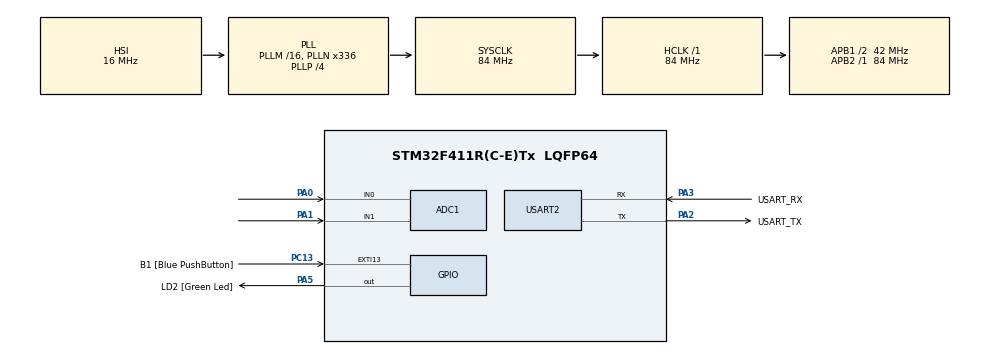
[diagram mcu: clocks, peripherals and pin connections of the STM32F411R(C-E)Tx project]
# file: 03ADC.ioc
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ADC1.Channel-0\#ChannelRegularConversion=ADC_CHANNEL_0
ADC1.NbrOfConversionFlag=1
ADC1.Rank-0\#ChannelRegularConversion=1
ADC1.SamplingTime-0\#ChannelRegularConversion=ADC_SAMPLETIME_3CYCLES
ADC1.master=1
Mcu.Family=STM32F4
Mcu.Name=STM32F411R(C-E)Tx
Mcu.Package=LQFP64
NVIC.PriorityGroup=NVIC_PRIORITYGROUP_0
PA0-WKUP.Signal=ADCx_IN0
PA1.Signal=ADCx_IN1
PA13.GPIO_Label=TMS
PA13.Mode=Serial_Wire
PA13.Signal=SYS_JTMS-SWDIO
PA14.GPIO_Label=TCK
PA14.Mode=Serial_Wire
PA14.Signal=SYS_JTCK-SWCLK
PA2.GPIO_Label=USART_TX
PA2.Mode=Asynchronous
PA2.Signal=USART2_TX
PA3.GPIO_Label=USART_RX
PA3.Mode=Asynchronous
PA3.Signal=USART2_RX
PA5.GPIO_Label=LD2 [Green Led]
PA5.Signal=GPIO_Output
PB3.GPIO_Label=SWO
PB3.Signal=SYS_JTDO-SWO
PC13-ANTI_TAMP.GPIO_Label=B1 [Blue PushButton]
PC13-ANTI_TAMP.GPIO_ModeDefaultEXTI=GPIO_MODE_IT_FALLING
PC13-ANTI_TAMP.Signal=GPXTI13
PC14-OSC32_IN.Mode=LSE-External-Oscillator
PC14-OSC32_IN.Signal=RCC_OSC32_IN
PC15-OSC32_OUT.Mode=LSE-External-Oscillator
PC15-OSC32_OUT.Signal=RCC_OSC32_OUT
PH0\ -\ OSC_IN.Mode=HSE-External-Clock-Source
PH0\ -\ OSC_IN.Signal=RCC_OSC_IN
PH1\ -\ OSC_OUT.Mode=HSE-External-Clock-Source
PH1\ -\ OSC_OUT.Signal=RCC_OSC_OUT
ProjectManager.HeapSize=0x200
ProjectManager.StackSize=0x400
ProjectManager.TargetToolchain=STM32CubeIDE
RCC.48MHZClocksFreq_Value=84000000
RCC.AHBFreq_Value=84000000
RCC.APB1CLKDivider=RCC_HCLK_DIV2
RCC.APB1Freq_Value=42000000
RCC.APB1TimFreq_Value=84000000
RCC.APB2Freq_Value=84000000
RCC.APB2TimFreq_Value=84000000
RCC.CortexFreq_Value=84000000
RCC.FLatency-AdvancedSettings=FLASH_LATENCY_2
RCC.HCLKFreq_Value=84000000
RCC.HSE_VALUE=8000000
RCC.HSI_VALUE=16000000
RCC.PLLN=336
RCC.PLLP=RCC_PLLP_DIV4
RCC.SYSCLKFreq_VALUE=84000000
RCC.SYSCLKSource=RCC_SYSCLKSOURCE_PLLCLK
RCC.VCOOutputFreq_Value=336000000
SH.ADCx_IN0.0=ADC1_IN0,IN0
SH.ADCx_IN1.0=ADC1_IN1,IN1
USART2.VirtualMode=VM_ASYNC
VP_ADC1_TempSens_Input.Mode=IN-TempSens
board=NUCLEO-F411RE

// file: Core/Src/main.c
 /* USER CODE BEGIN Header */
/**
 ******************************************************************************
 * @file           : main.c
 * @brief          : Main program body
 ******************************************************************************
 * @attention
 *
 * Copyright (c) 2022 STMicroelectronics.
 * All rights reserved.
 *
 * This software is licensed under terms that can be found in the LICENSE file
 * in the root directory of this software component.
 * If no LICENSE file comes with this software, it is provided AS-IS.
 *
 ******************************************************************************
 */
/* USER CODE END Header */
#include "main.h"

ADC_HandleTypeDef hadc1;

UART_HandleTypeDef huart2;

/* USER CODE BEGIN PV */
typedef struct {
	ADC_ChannelConfTypeDef Config;
	uint16_t data;
} ADCStructure;

ADCStructure ADCChannel[3];
/* USER CODE END PV */

void SystemClock_Config(void);
static void MX_GPIO_Init(void);
static void MX_USART2_UART_Init(void);
static void MX_ADC1_Init(void);
/* USER CODE BEGIN PFP */
void ADCPollingmethodUpdate();
void ADCConfigInt();
/* USER CODE END PFP */

/* USER CODE BEGIN 0 */
int ADCmode = 0;
float ADCConvertOutput = 0;
/* USER CODE END 0 */

int main(void) {

	/* MCU Configuration--------------------------------------------------------*/

	/* Reset of all peripherals, Initializes the Flash interface and the Systick. */
	HAL_Init();

	/* Configure the system clock */
	SystemClock_Config();

	/* Initialize all configured peripherals */
	MX_GPIO_Init();
	MX_USART2_UART_Init();
	MX_ADC1_Init();
	/* USER CODE BEGIN 2 */
	ADCConfigInt();
	/* USER CODE END 2 */

	/* Infinite loop */
	/* USER CODE BEGIN WHILE */

	while (1) {
		static GPIO_PinState B1state[2] = { 0 };
		B1state[0] = HAL_GPIO_ReadPin(GPIOC, GPIO_PIN_13);
		if (B1state[1] == GPIO_PIN_SET && B1state[0] == GPIO_PIN_RESET) {
			ADCmode = ADCmode ^ 1;

		}
		B1state[1] = B1state[0];

		ADCPollingmethodUpdate();

		if (ADCmode == 0) {
			float x = ADCChannel[0].data;
			ADCConvertOutput = x/4096.0*3300.0;
		} else {
			//https://www.st.com/resource/en/datasheet/stm32f411re.pdf
			//page 119
			float x = ADCChannel[2].data;
			float v = 3300.0 / 4096.0 * x;
			ADCConvertOutput = ((v - 760) / 2.5) + 25;
		}
		/*
		 static int delay=300;
		 static GPIO_PinState B1state[2] = { 0 };
		 static uint32_t timestamp = 0;
		 B1state[0] = HAL_GPIO_ReadPin(GPIOC, GPIO_PIN_13);
		 if (B1state[1] == GPIO_PIN_SET && B1state[0] == GPIO_PIN_RESET) {
		 if(delay==300)delay=1000;
		 else delay = 300;
		 }

		 if (HAL_GetTick() - timestamp >= delay) {
		 HAL_GPIO_TogglePin(GPIOA, GPIO_PIN_5);
		 timestamp = HAL_GetTick();
		 }
		 B1state[1] = B1state[0];
		 */

		/* USER CODE END WHILE */

	}
}

void SystemClock_Config(void) {
	RCC_OscInitTypeDef RCC_OscInitStruct = { 0 };
	RCC_ClkInitTypeDef RCC_ClkInitStruct = { 0 };

	/** Configure the main internal regulator output voltage
	 */
	__HAL_RCC_PWR_CLK_ENABLE();
	__HAL_PWR_VOLTAGESCALING_CONFIG(PWR_REGULATOR_VOLTAGE_SCALE1);
	/** Initializes the RCC Oscillators according to the specified parameters
	 * in the RCC_OscInitTypeDef structure.
	 */
	RCC_OscInitStruct.OscillatorType = RCC_OSCILLATORTYPE_HSI;
	RCC_OscInitStruct.HSIState = RCC_HSI_ON;
	RCC_OscInitStruct.HSICalibrationValue = RCC_HSICALIBRATION_DEFAULT;
	RCC_OscInitStruct.PLL.PLLState = RCC_PLL_ON;
	RCC_OscInitStruct.PLL.PLLSource = RCC_PLLSOURCE_HSI;
	RCC_OscInitStruct.PLL.PLLM = 16;
	RCC_OscInitStruct.PLL.PLLN = 336;
	RCC_OscInitStruct.PLL.PLLP = RCC_PLLP_DIV4;
	RCC_OscInitStruct.PLL.PLLQ = 4;
	if (HAL_RCC_OscConfig(&RCC_OscInitStruct) != HAL_OK) {
		Error_Handler();
	}
	/** Initializes the CPU, AHB and APB buses clocks
	 */
	RCC_ClkInitStruct.ClockType = RCC_CLOCKTYPE_HCLK | RCC_CLOCKTYPE_SYSCLK
			| RCC_CLOCKTYPE_PCLK1 | RCC_CLOCKTYPE_PCLK2;
	RCC_ClkInitStruct.SYSCLKSource = RCC_SYSCLKSOURCE_PLLCLK;
	RCC_ClkInitStruct.AHBCLKDivider = RCC_SYSCLK_DIV1;
	RCC_ClkInitStruct.APB1CLKDivider = RCC_HCLK_DIV2;
	RCC_ClkInitStruct.APB2CLKDivider = RCC_HCLK_DIV1;

	if (HAL_RCC_ClockConfig(&RCC_ClkInitStruct, FLASH_LATENCY_2) != HAL_OK) {
		Error_Handler();
	}
}

static void MX_ADC1_Init(void) {

	ADC_ChannelConfTypeDef sConfig = { 0 };

	/** Configure the global features of the ADC (Clock, Resolution, Data Alignment and number of conversion)
	 */
	hadc1.Instance = ADC1;
	hadc1.Init.ClockPrescaler = ADC_CLOCK_SYNC_PCLK_DIV4;
	hadc1.Init.Resolution = ADC_RESOLUTION_12B;
	hadc1.Init.ScanConvMode = DISABLE;
	hadc1.Init.ContinuousConvMode = DISABLE;
	hadc1.Init.DiscontinuousConvMode = DISABLE;
	hadc1.Init.ExternalTrigConvEdge = ADC_EXTERNALTRIGCONVEDGE_NONE;
	hadc1.Init.ExternalTrigConv = ADC_SOFTWARE_START;
	hadc1.Init.DataAlign = ADC_DATAALIGN_RIGHT;
	hadc1.Init.NbrOfConversion = 1;
	hadc1.Init.DMAContinuousRequests = DISABLE;
	hadc1.Init.EOCSelection = ADC_EOC_SINGLE_CONV;
	if (HAL_ADC_Init(&hadc1) != HAL_OK) {
		Error_Handler();
	}
	/** Configure for the selected ADC regular channel its corresponding rank in the sequencer and its sample time.
	 */
	sConfig.Channel = ADC_CHANNEL_0;
	sConfig.Rank = 1;
	sConfig.SamplingTime = ADC_SAMPLETIME_3CYCLES;
	if (HAL_ADC_ConfigChannel(&hadc1, &sConfig) != HAL_OK) {
		Error_Handler();
	}

}

static void MX_USART2_UART_Init(void) {

	huart2.Instance = USART2;
	huart2.Init.BaudRate = 115200;
	huart2.Init.WordLength = UART_WORDLENGTH_8B;
	huart2.Init.StopBits = UART_STOPBITS_1;
	huart2.Init.Parity = UART_PARITY_NONE;
	huart2.Init.Mode = UART_MODE_TX_RX;
	huart2.Init.HwFlowCtl = UART_HWCONTROL_NONE;
	huart2.Init.OverSampling = UART_OVERSAMPLING_16;
	if (HAL_UART_Init(&huart2) != HAL_OK) {
		Error_Handler();
	}

}

static void MX_GPIO_Init(void) {
	GPIO_InitTypeDef GPIO_InitStruct = { 0 };

	/* GPIO Ports Clock Enable */
	__HAL_RCC_GPIOC_CLK_ENABLE();
	__HAL_RCC_GPIOH_CLK_ENABLE();
	__HAL_RCC_GPIOA_CLK_ENABLE();
	__HAL_RCC_GPIOB_CLK_ENABLE();

	/*Configure GPIO pin Output Level */
	HAL_GPIO_WritePin(LD2_GPIO_Port, LD2_Pin, GPIO_PIN_RESET);

	/*Configure GPIO pin : B1_Pin */
	GPIO_InitStruct.Pin = B1_Pin;
	GPIO_InitStruct.Mode = GPIO_MODE_IT_FALLING;
	GPIO_InitStruct.Pull = GPIO_NOPULL;
	HAL_GPIO_Init(B1_GPIO_Port, &GPIO_InitStruct);

	/*Configure GPIO pin : LD2_Pin */
	GPIO_InitStruct.Pin = LD2_Pin;
	GPIO_InitStruct.Mode = GPIO_MODE_OUTPUT_PP;
	GPIO_InitStruct.Pull = GPIO_NOPULL;
	GPIO_InitStruct.Speed = GPIO_SPEED_FREQ_LOW;
	HAL_GPIO_Init(LD2_GPIO_Port, &GPIO_InitStruct);

}

/* USER CODE BEGIN 4 */
void ADCConfigInt() {

	HAL_ADC_ConfigChannel(&hadc1, name);
	ADCChannel[0].Config.Channel = ADC_CHANNEL_0;
	ADCChannel[0].Config.Rank = 1;
	ADCChannel[0].Config.SamplingTime = ADC_SAMPLETIME_3CYCLES;

	ADCChannel[1].Config.Channel = ADC_CHANNEL_1;
	ADCChannel[1].Config.Rank = 1;
	ADCChannel[1].Config.SamplingTime = ADC_SAMPLETIME_3CYCLES;

	ADCChannel[2].Config.Channel = ADC_CHANNEL_TEMPSENSOR;
	ADCChannel[2].Config.Rank = 1;
	ADCChannel[2].Config.SamplingTime = ADC_SAMPLETIME_3CYCLES;

}
uint16_t ADCdata = 0;
void ADCPollingmethodUpdate() {

	for (int i = 0; i < 3; ++i) {
		HAL_ADC_ConfigChannel(&hadc1, &ADCChannel[i].Config);
//start
		HAL_ADC_Start(&hadc1);
//wait
		if (HAL_ADC_PollForConversion(&hadc1, 10) == HAL_OK)
			ADCChannel[i].data = HAL_ADC_GetValue(&hadc1);
//stop
		HAL_ADC_Stop(&hadc1);

	}

}
/* USER CODE END 4 */

void Error_Handler(void) {
	__disable_irq();
	while (1) {
	}
}
